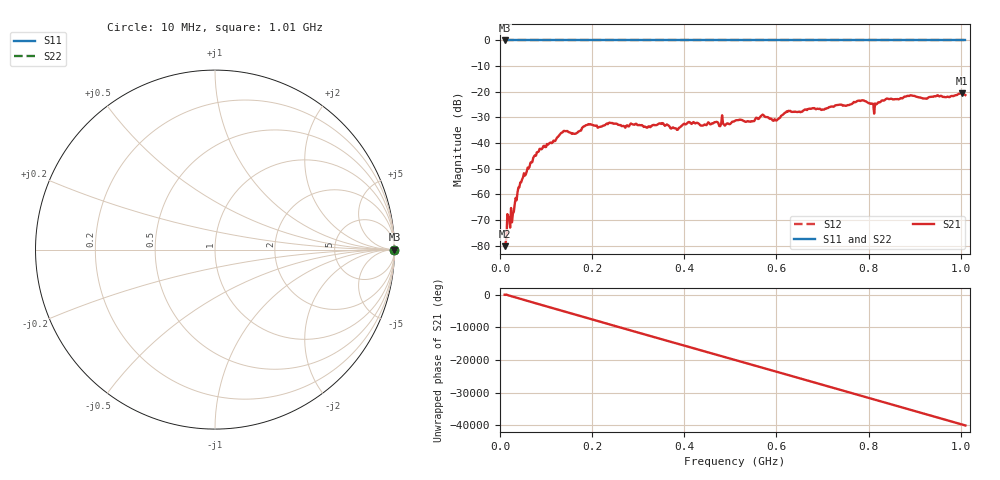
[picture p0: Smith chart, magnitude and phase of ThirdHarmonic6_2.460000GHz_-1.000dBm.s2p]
! 8/17/2025 4:27:24 AM
! C:\ANRITSUVNA\TEMP\TEMP.S2P
! CHANNEL.1
! TR.MEASUREMENT
! RAW.DATA
! RF.CORRECTION.OFF
! AVERAGING.OFF
! IF.BANDWIDTH: 5KHZ
! SWEEPTYPE:  FREQ.SWEEP(Linear)
! Reference Plane Port Info
! PORT:  PORT1  PORT2
! DISTANCE:  0  m  0  m
! TIME:  0  s  0  s
! PHASE.OFFSET:  0  deg.  0  deg.
! LOSS:  0  dB  0  dB
! REF.LOSS:  0  dB  0  dB
! REF.FREQ:  0  Hz  0  Hz
! Power Info
! POWER:  -20  dBm  -20  dBm
! EFF.POWER:  -20  dBm  -20  dBm
! SOURCE.ATTEN:  0  dB  0  dB
! TEST.ATTEN:  0  dB  0  dB
# GHZ S RI R 50.0
! FREQ.GHZ  S11RE  S11IM  S21RE  S21IM  S12RE  S12IM  S22RE  S22IM
!; PortSelection: Port_12
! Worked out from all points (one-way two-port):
!   501 points, 10 MHz to 1.01 GHz, reference 50 ohm
!   highest |S21| = -20.57 dB at 1.002 GHz (marker M1); lowest = -80.3 dB at 10 MHz (marker M2)
!   lowest |S11| = 0.0 dB at 10 MHz (marker M3)
!   |S11| at or under -10 dB: nowhere
!   |S22| runs from 0.0 to 0.0 dB; largest |S21 - S12| = 1.1
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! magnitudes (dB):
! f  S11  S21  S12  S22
! 10 MHz  0.0  -80.3  0.0  0.0
! 20 MHz  0.0  -69.2  0.0  0.0
! 26 MHz  0.0  -70.9  0.0  0.0
! 42 MHz  0.0  -57.2  0.0  0.0
! 76 MHz  0.0  -44.8  0.0  0.0
! 136 MHz  0.0  -35.8  0.0  0.0
! 178 MHz  0.0  -34.2  0.0  0.0
! 240 MHz  0.0  -32.2  0.0  0.0
! 344 MHz  0.0  -32.6  0.0  0.0
! 382 MHz  0.0  -34.3  0.0  0.0
! 410 MHz  0.0  -31.8  0.0  0.0
! 510 MHz  0.0  -31.3  0.0  0.0
! 548 MHz  0.0  -31.5  0.0  0.0
! 570 MHz  0.0  -28.9  0.0  0.0
! 596 MHz  0.0  -30.7  0.0  0.0
! 626 MHz  0.0  -27.4  0.0  0.0
! 678 MHz  0.0  -26.5  0.0  0.0
! 784 MHz  0.0  -23.5  0.0  0.0
! 814 MHz  0.0  -24.6  0.0  0.0
! 844 MHz  0.0  -22.9  0.0  0.0
! 1.002 GHz  0.0  -20.6  0.0  0.0
! 1.01 GHz  0.0  -21.3  0.0  0.0
